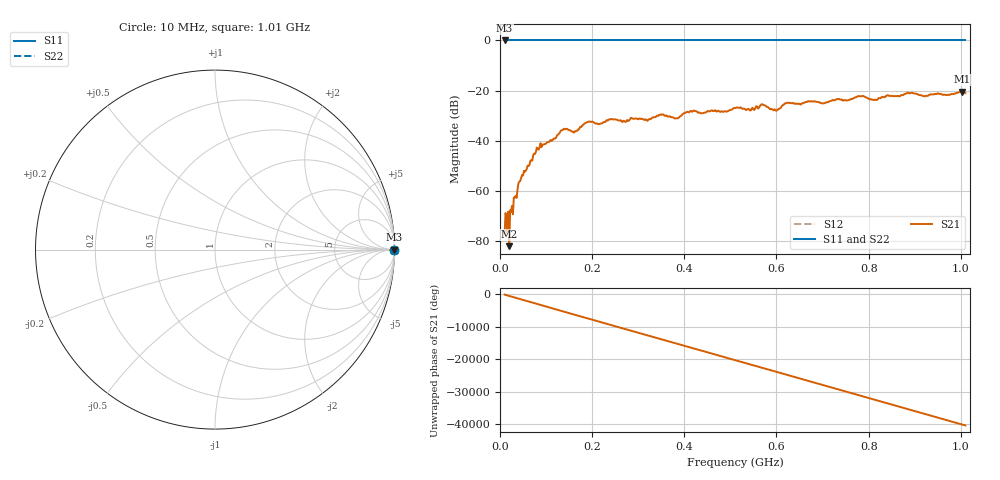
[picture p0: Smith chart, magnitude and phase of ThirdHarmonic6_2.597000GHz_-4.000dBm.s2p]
! 8/17/2025 5:35:51 AM
! C:\ANRITSUVNA\TEMP\TEMP.S2P
! CHANNEL.1
! TR.MEASUREMENT
! RAW.DATA
! RF.CORRECTION.OFF
! AVERAGING.OFF
! IF.BANDWIDTH: 5KHZ
! SWEEPTYPE:  FREQ.SWEEP(Linear)
! Reference Plane Port Info
! PORT:  PORT1  PORT2
! DISTANCE:  0  m  0  m
! TIME:  0  s  0  s
! PHASE.OFFSET:  0  deg.  0  deg.
! LOSS:  0  dB  0  dB
! REF.LOSS:  0  dB  0  dB
! REF.FREQ:  0  Hz  0  Hz
! Power Info
! POWER:  -20  dBm  -20  dBm
! EFF.POWER:  -20  dBm  -20  dBm
! SOURCE.ATTEN:  0  dB  0  dB
! TEST.ATTEN:  0  dB  0  dB
# GHZ S RI R 50.0
! FREQ.GHZ  S11RE  S11IM  S21RE  S21IM  S12RE  S12IM  S22RE  S22IM
!; PortSelection: Port_12
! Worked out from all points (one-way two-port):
!   501 points, 10 MHz to 1.01 GHz, reference 50 ohm
!   highest |S21| = -20.36 dB at 1.002 GHz (marker M1); lowest = -82.0 dB at 20 MHz (marker M2)
!   lowest |S11| = 0.0 dB at 10 MHz (marker M3)
!   |S11| at or under -10 dB: nowhere
!   |S22| runs from 0.0 to 0.0 dB; largest |S21 - S12| = 1.1
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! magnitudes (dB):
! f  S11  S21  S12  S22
! 10 MHz  0.0  -77.0  0.0  0.0
! 20 MHz  0.0  -82.0  0.0  0.0
! 26 MHz  0.0  -65.9  0.0  0.0
! 44 MHz  0.0  -56.0  0.0  0.0
! 84 MHz  0.0  -43.5  0.0  0.0
! 136 MHz  0.0  -35.7  0.0  0.0
! 164 MHz  0.0  -36.3  0.0  0.0
! 178 MHz  0.0  -34.0  0.0  0.0
! 344 MHz  0.0  -30.0  0.0  0.0
! 382 MHz  0.0  -31.0  0.0  0.0
! 416 MHz  0.0  -28.4  0.0  0.0
! 510 MHz  0.0  -26.9  0.0  0.0
! 548 MHz  0.0  -26.8  0.0  0.0
! 570 MHz  0.0  -25.5  0.0  0.0
! 598 MHz  0.0  -27.9  0.0  0.0
! 622 MHz  0.0  -24.9  0.0  0.0
! 678 MHz  0.0  -24.3  0.0  0.0
! 782 MHz  0.0  -22.3  0.0  0.0
! 814 MHz  0.0  -23.6  0.0  0.0
! 844 MHz  0.0  -22.1  0.0  0.0
! 1.002 GHz  0.0  -20.4  0.0  0.0
! 1.01 GHz  0.0  -21.0  0.0  0.0
